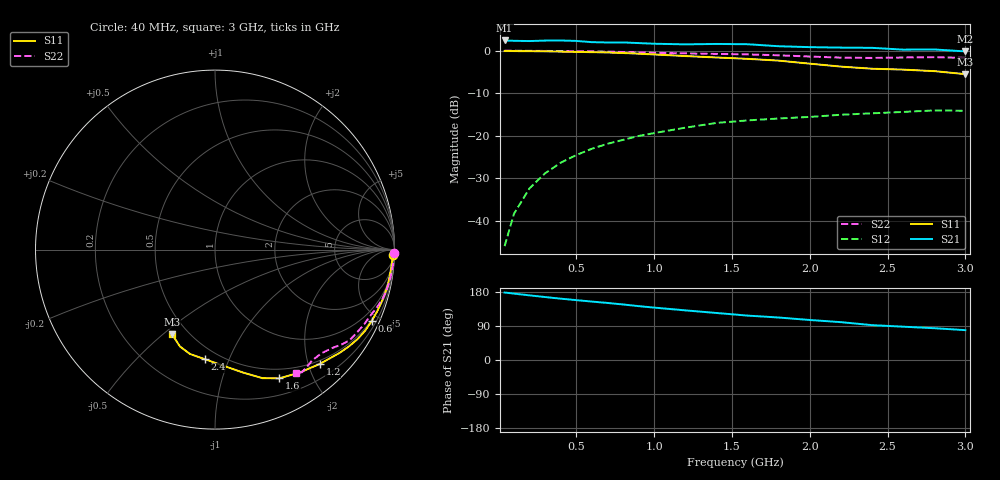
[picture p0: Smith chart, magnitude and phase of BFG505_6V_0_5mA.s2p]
! Filename:  BFG505G.S2P  Version:  3.0
! Philips part #: BFG505  Date: Feb 1992
! Bias condition: Vce=6V, Ic=0.50mA
! IN LINE PINNING: same data as with cross emitter pinning.
#  MHz  S  MA  R  50
! Freq  S11  S21  S12  S22  !GUM [dB]
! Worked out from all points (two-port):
!   21 points, 40 MHz to 3 GHz, reference 50 ohm
!   highest |S21| = 2.40 dB at 40 MHz (marker M1); lowest = -0.2 dB at 3 GHz (marker M2)
!   |S21| within 3 dB of the highest: start of sweep to end of sweep
!   lowest |S11| = -5.5 dB at 3 GHz (marker M3), VSWR 3.25, Z = 20.5 - j26.8 ohm
!   |S11| at or under -10 dB: nowhere
!   |S22| runs from -1.7 to 0.0 dB; largest |S21 - S12| = 1.3
!   S11 on the Smith chart (normalised r, x): 40 MHz: 17, -63; 600 MHz: 0.45, -4.58; 1.2 GHz: 0.44, -2.20; 1.6 GHz: 0.39, -1.54; 2.4 GHz: 0.42, -0.82; 3 GHz: 0.41, -0.54
40  0.992 -1.7  1.318 178.0  0.005 88.3  0.998 -1.0
100  0.989 -4.1  1.305 175.2  0.012 86.6  0.997 -2.4
200  0.985 -8.3  1.297 170.6  0.024 84.4  0.995 -4.8
300  0.982 -12.4  1.313 166.1  0.036 81.4  0.993 -7.1
400  0.974 -16.7  1.317 161.9  0.048 78.7  0.989 -9.5
500  0.967 -20.7  1.301 158.0  0.059 76.1  0.985 -11.7
600  0.96 -24.4  1.259 154.2  0.07 74.0  0.98 -13.9
700  0.951 -28.3  1.248 150.6  0.08 71.3  0.974 -16.1
800  0.938 -32.1  1.25 146.6  0.089 68.8  0.964 -18.2
900  0.921 -35.8  1.228 142.2  0.099 66.0  0.955 -20.2
1000  0.902 -39.6  1.206 138.3  0.107 63.7  0.944 -22.3
1200  0.864 -47.5  1.186 131.0  0.124 59.4  0.929 -26.7
1400  0.831 -55.7  1.199 124.1  0.141 55.6  0.915 -30.6
1600  0.801 -63.6  1.19 117.2  0.151 52.0  0.904 -34.0
1800  0.763 -69.8  1.127 112.1  0.159 49.7  0.882 -36.8
2000  0.703 -77.1  1.1 105.6  0.166 45.4  0.852 -40.1
2200  0.649 -85.8  1.086 99.9  0.176 41.6  0.828 -44.2
2400  0.613 -95.4  1.079 92.0  0.183 37.8  0.821 -48.7
2600  0.598 -103.5  1.028 87.9  0.19 37.1  0.831 -52.5
2800  0.574 -109.9  1.033 83.9  0.198 36.1  0.838 -54.7
3000  0.529 -116.9  0.98 78.8  0.196 34.1  0.823 -56.6
